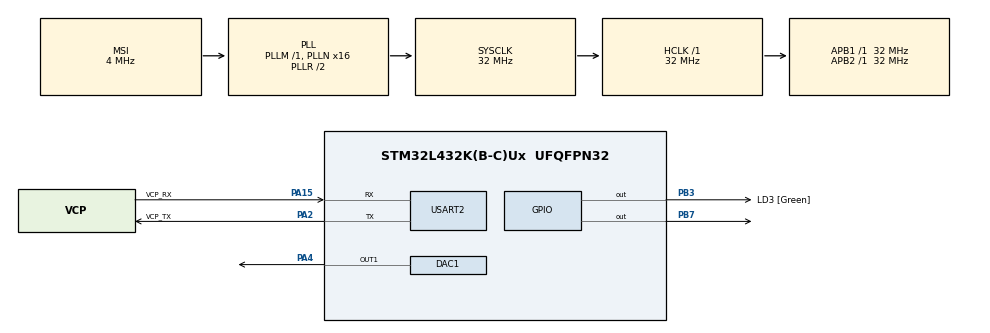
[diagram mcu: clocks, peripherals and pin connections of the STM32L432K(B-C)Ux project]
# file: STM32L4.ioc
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DAC1.DAC_Trigger-DAC_OUT1=DAC_TRIGGER_T6_TRGO
Dma.DAC_CH1.0.Direction=DMA_MEMORY_TO_PERIPH
Dma.DAC_CH1.0.Instance=DMA1_Channel3
Dma.DAC_CH1.0.MemDataAlignment=DMA_MDATAALIGN_WORD
Dma.DAC_CH1.0.MemInc=DMA_MINC_ENABLE
Dma.DAC_CH1.0.Mode=DMA_CIRCULAR
Dma.DAC_CH1.0.PeriphDataAlignment=DMA_PDATAALIGN_WORD
Dma.DAC_CH1.0.PeriphInc=DMA_PINC_DISABLE
Dma.DAC_CH1.0.Priority=DMA_PRIORITY_LOW
Dma.Request0=DAC_CH1
Mcu.Family=STM32L4
Mcu.Name=STM32L432K(B-C)Ux
Mcu.Package=UFQFPN32
NVIC.DMA1_Channel3_IRQn=true\:0\:0\:false\:false\:true\:false\:true\:true
NVIC.PriorityGroup=NVIC_PRIORITYGROUP_4
NVIC.TIM6_DAC_IRQn=true\:0\:0\:false\:false\:true\:true\:true\:true
PA0.GPIO_Label=MCO [High speed clock in]
PA0.Mode=HSE-External-Clock-Source-for-LittleOrca
PA0.Signal=RCC_CK_IN
PA13\ (JTMS-SWDIO).GPIO_Label=SWDIO
PA13\ (JTMS-SWDIO).Mode=Serial_Wire
PA13\ (JTMS-SWDIO).Signal=SYS_JTMS-SWDIO
PA14\ (JTCK-SWCLK).GPIO_Label=SWCLK
PA14\ (JTCK-SWCLK).Mode=Serial_Wire
PA14\ (JTCK-SWCLK).Signal=SYS_JTCK-SWCLK
PA15\ (JTDI).GPIO_Label=VCP_RX
PA15\ (JTDI).Mode=Asynchronous
PA15\ (JTDI).Signal=USART2_RX
PA2.GPIO_Label=VCP_TX
PA2.Mode=Asynchronous
PA2.Signal=USART2_TX
PA4.Signal=COMP_DAC11_group
PB3\ (JTDO-TRACESWO).GPIO_Label=LD3 [Green]
PB3\ (JTDO-TRACESWO).Signal=GPIO_Output
PB7.Signal=GPIO_Output
PC14-OSC32_IN\ (PC14).Mode=LSE-External-Oscillator
PC14-OSC32_IN\ (PC14).Signal=RCC_OSC32_IN
PC15-OSC32_OUT\ (PC15).Mode=LSE-External-Oscillator
PC15-OSC32_OUT\ (PC15).Signal=RCC_OSC32_OUT
ProjectManager.HeapSize=0x200
ProjectManager.StackSize=0x400
ProjectManager.TargetToolchain=STM32CubeIDE
RCC.AHBFreq_Value=32000000
RCC.APB1Freq_Value=32000000
RCC.APB1TimFreq_Value=32000000
RCC.APB2Freq_Value=32000000
RCC.APB2TimFreq_Value=32000000
RCC.CortexFreq_Value=32000000
RCC.HCLKFreq_Value=32000000
RCC.HSE_VALUE=8000000
RCC.HSI16_VALUE=16000000
RCC.HSI48_VALUE=48000000
RCC.HSI_VALUE=16000000
RCC.MSI_VALUE=4000000
RCC.PLLMUL=RCC_PLLMUL_4
RCC.PLLN=16
RCC.SYSCLKFreq_VALUE=32000000
RCC.SYSCLKSource=RCC_SYSCLKSOURCE_PLLCLK
RCC.VCOOutputFreq_Value=64000000
SH.COMP_DAC11_group.0=DAC1_OUT1,DAC_OUT1
TIM6.Period=1
TIM6.Prescaler=417
TIM6.TIM_MasterOutputTrigger=TIM_TRGO_UPDATE
USART2.VirtualMode-Asynchronous=VM_ASYNC
VP_TIM6_VS_ClockSourceINT.Mode=Enable_Timer
board=NUCLEO-L432KC

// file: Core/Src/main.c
/* USER CODE BEGIN Header */
/**
 ******************************************************************************
 * @file           : main.c
 * @brief          : Main program body
 ******************************************************************************
 * @attention
 *
 * Copyright (c) 2024 STMicroelectronics.
 * All rights reserved.
 *
 * This software is licensed under terms that can be found in the LICENSE file
 * in the root directory of this software component.
 * If no LICENSE file comes with this software, it is provided AS-IS.
 *
 ******************************************************************************
 */
/* USER CODE END Header */
#include "main.h"
#include "dac.h"
#include "dma.h"
#include "tim.h"
#include "usart.h"
#include "gpio.h"

/* USER CODE BEGIN Includes */
#include <math.h>
#include <stdlib.h>
#include <stdint.h>

/* USER CODE END Includes */

/* USER CODE BEGIN PD */
#define BIT_STREAM_LEN 64
#define STEPS 32
#define PERIOD 1200
#define SAMPLE_FREQ (STEPS*PERIOD)
/* USER CODE END PD */

/* USER CODE BEGIN PV */

uint8_t data[1042] = { 0, 1, 1, 1, 1, 1, 1, 0, 0, 1, 1, 1, 1, 1, 1, 0, 0, 1, 1,
		1, 1, 1, 1, 0, 0, 1, 1, 1, 1, 1, 1, 0, 0, 1, 1, 1, 1, 1, 1, 0, 0, 1, 1,
		1, 1, 1, 1, 0, 0, 1, 1, 1, 1, 1, 1, 0, 0, 1, 1, 1, 1, 1, 1, 0, 0, 1, 1,
		1, 1, 1, 1, 0, 0, 1, 1, 1, 1, 1, 1, 0, 0, 1, 1, 1, 1, 1, 1, 0, 0, 1, 1,
		1, 1, 1, 1, 0, 0, 1, 1, 1, 1, 1, 1, 0, 0, 1, 1, 1, 1, 1, 1, 0, 0, 1, 1,
		1, 1, 1, 1, 0, 0, 1, 1, 1, 1, 1, 1, 0, 0, 1, 1, 1, 1, 1, 1, 0, 0, 1, 1,
		1, 1, 1, 1, 0, 0, 1, 1, 1, 1, 1, 1, 0, 0, 1, 1, 1, 1, 1, 1, 0, 0, 1, 1,
		1, 1, 1, 1, 0, 0, 1, 1, 1, 1, 1, 1, 0, 0, 1, 1, 1, 1, 1, 1, 0, 0, 1, 1,
		1, 1, 1, 1, 0, 0, 1, 1, 1, 1, 1, 1, 0, 0, 1, 1, 1, 1, 1, 1, 0, 0, 1, 1,
		1, 1, 1, 1, 0, 0, 1, 1, 1, 1, 1, 1, 0, 0, 1, 1, 1, 1, 1, 1, 0, 0, 1, 1,
		1, 1, 1, 1, 0, 0, 1, 1, 1, 1, 1, 1, 0, 0, 1, 1, 1, 1, 1, 1, 0, 0, 1, 1,
		1, 1, 1, 1, 0, 0, 1, 1, 1, 1, 1, 1, 0, 0, 1, 1, 1, 1, 1, 1, 0, 0, 1, 1,
		1, 1, 1, 1, 0, 0, 1, 1, 1, 1, 1, 1, 0, 0, 1, 1, 1, 1, 1, 1, 0, 0, 1, 1,
		1, 1, 1, 1, 0, 0, 1, 1, 1, 1, 1, 1, 0, 0, 1, 1, 1, 1, 1, 1, 0, 0, 1, 1,
		1, 1, 1, 1, 0, 0, 1, 1, 1, 1, 1, 1, 0, 0, 1, 1, 1, 1, 1, 1, 0, 0, 1, 1,
		1, 1, 1, 1, 0, 0, 1, 1, 1, 1, 1, 1, 0, 0, 1, 1, 1, 1, 1, 1, 0, 0, 1, 1,
		1, 1, 1, 1, 0, 0, 1, 1, 1, 1, 1, 1, 0, 0, 1, 1, 1, 1, 1, 1, 0, 0, 1, 1,
		1, 1, 1, 1, 0, 0, 1, 1, 1, 1, 1, 1, 0, 0, 1, 1, 1, 1, 1, 1, 0, 0, 1, 1,
		1, 1, 1, 1, 0, 0, 1, 0, 0, 0, 0, 0, 1, 0, 0, 0, 0, 0, 1, 0, 1, 0, 0, 1,
		0, 1, 1, 0, 1, 0, 1, 0, 1, 1, 0, 0, 1, 0, 0, 0, 1, 0, 0, 0, 1, 0, 1, 0,
		1, 1, 0, 0, 1, 0, 0, 0, 0, 0, 1, 1, 0, 0, 0, 1, 1, 1, 0, 0, 1, 0, 1, 1,
		1, 1, 0, 0, 1, 0, 1, 1, 0, 0, 0, 0, 1, 0, 1, 0, 0, 0, 0, 0, 1, 0, 0, 0,
		1, 1, 0, 0, 1, 0, 0, 0, 1, 1, 0, 0, 1, 1, 1, 0, 1, 0, 1, 1, 0, 1, 1, 0,
		0, 0, 0, 0, 0, 0, 0, 0, 0, 1, 1, 1, 1, 1, 0, 0, 1, 1, 1, 1, 0, 0, 0, 0,
		0, 0, 1, 1, 0, 0, 0, 0, 0, 0, 1, 1, 0, 0, 0, 0, 0, 0, 1, 1, 0, 0, 0, 0,
		0, 0, 1, 1, 0, 0, 0, 1, 1, 1, 0, 1, 0, 0, 0, 0, 0, 0, 1, 1, 0, 0, 0, 0,
		0, 0, 1, 1, 0, 0, 0, 1, 1, 1, 0, 0, 1, 0, 1, 1, 1, 1, 0, 1, 0, 0, 0, 0,
		0, 0, 1, 1, 0, 0, 0, 0, 0, 0, 1, 1, 0, 0, 0, 0, 0, 0, 1, 1, 0, 0, 0, 0,
		0, 0, 1, 1, 0, 0, 0, 0, 0, 0, 1, 1, 0, 0, 0, 1, 1, 1, 0, 1, 0, 0, 0, 0,
		0, 0, 1, 1, 0, 0, 0, 0, 0, 0, 1, 1, 0, 0, 1, 0, 1, 0, 0, 0, 1, 0, 0, 1,
		1, 1, 1, 1, 0, 0, 0, 1, 1, 1, 1, 0, 1, 0, 0, 1, 0, 0, 0, 0, 0, 1, 0, 1,
		0, 1, 1, 1, 1, 0, 0, 0, 0, 0, 0, 1, 1, 0, 0, 0, 0, 0, 0, 1, 1, 0, 0, 0,
		0, 0, 0, 1, 1, 0, 0, 0, 0, 0, 0, 1, 1, 0, 0, 0, 0, 0, 0, 1, 1, 0, 0, 0,
		0, 0, 0, 1, 1, 0, 0, 1, 0, 0, 0, 0, 0, 1, 0, 0, 1, 0, 0, 1, 1, 1, 0, 0,
		0, 1, 0, 0, 1, 1, 0, 1, 0, 1, 0, 1, 1, 1, 0, 1, 0, 0, 1, 0, 1, 1, 0, 0,
		1, 1, 1, 0, 1, 1, 0, 1, 1, 1, 1, 0, 1, 1, 0, 0, 0, 0, 0, 0, 1, 0, 0, 1,
		0, 0, 0, 0, 0, 1, 0, 0, 0, 0, 0, 1, 0, 1, 0, 0, 1, 0, 0, 1, 0, 1, 0, 1,
		1, 0, 0, 1, 0, 1, 0, 0, 0, 0, 0, 0, 1, 0, 0, 0, 0, 1, 0, 1, 0, 1, 0, 0,
		1, 0, 0, 1, 1, 1, 0, 1, 0, 0, 0, 0, 1, 1, 0, 1, 1, 0, 0, 0, 1, 1, 0, 1,
		1, 0, 1, 0, 1, 1, 0, 1, 0, 1, 0, 0, 1, 1, 0, 0, 1, 0, 0, 1, 1, 1, 0, 0,
		0, 1, 1, 0, 0, 1, 1, 0, 0, 1, 1, 1, 0, 1, 0, 0, 1, 1, 1, 1, 1, 1, 0, 0,
		1, 1, 1, 1, 1, 1, 0, 0, 1, 1, 1, 1, 1, 1, 0, 0, 1, 1, 1, 1, 1, 1, 0, 0,
		1, 1, 1, 1, 1, 1, 0, 0, 1, 1, 1, 1, 1, 1, 0, 0, 1, 1, 1, 1, 1, 1, 0, 0,
		1, 1, 1, 1, 1, 1, 0, 0, 1, 1, 1, 1, 1, 1, 0 };

int bufIndex = 0;
uint32_t buf[64];
uint32_t errorValue;
uint32_t sineTable[2048];
uint32_t buffer[4096];
int isrFlag = 0;
int mainFlag = 0;
/* USER CODE END PV */

void SystemClock_Config(void);
/* USER CODE BEGIN PFP */
void audioCPFSK(uint32_t *bitstream, int bitstreamLength, int samplingFreq,
		uint32_t *result);
/* USER CODE END PFP */

int main(void) {

	/* MCU Configuration--------------------------------------------------------*/

	/* Reset of all peripherals, Initializes the Flash interface and the Systick. */
	HAL_Init();

	/* Configure the system clock */
	SystemClock_Config();

	/* Initialize all configured peripherals */
	MX_GPIO_Init();
	MX_DMA_Init();
	MX_USART2_UART_Init();
	MX_DAC1_Init();
	MX_TIM6_Init();
	/* USER CODE BEGIN 2 */

	for (int i = 0; i < 64; i++) {
		buf[i] = data[bufIndex];
		bufIndex++;

	}

	audioCPFSK(buf, BIT_STREAM_LEN, SAMPLE_FREQ, sineTable);

	for (int i = 0; i < 2048; i++) {
		buffer[i] = sineTable[i];
	}

	HAL_TIM_Base_Start(&htim6);

	if (HAL_DAC_Start_DMA(&hdac1, DAC_CHANNEL_1, buffer, BIT_STREAM_LEN * STEPS,
			DAC_ALIGN_12B_R) == HAL_OK) {
	} else {
		errorValue = HAL_DAC_GetError(&hdac1);
	}

	/* USER CODE END 2 */

	/* Infinite loop */
	while (1) {
		while(mainFlag == 0){
			asm("nop");
		}
		/* USER CODE BEGIN 3 */
		switch (isrFlag) {
		case 0:

			for (int i = 0; i < 64; i++) {
				buf[i] = data[bufIndex];
				if (bufIndex >= 1041) {
					bufIndex = 0;
				} else {
					bufIndex++;
				}
			}

			audioCPFSK(buf, BIT_STREAM_LEN, SAMPLE_FREQ, sineTable);

			for (int i = 0; i < 2048; i++) {
				buffer[i] = sineTable[i];
			}

			break;
		case 1:

			for (int i = 0; i < 64; i++) {
				buf[i] = data[bufIndex];
				if (bufIndex >= 1041) {
					bufIndex = 0;
				} else {
					bufIndex++;
				}

			}

			audioCPFSK(buf, BIT_STREAM_LEN, SAMPLE_FREQ, sineTable);

			for (int i = 2048; i < 4096; i++) {
				buffer[i] = sineTable[i];
			}

			break;

		}

	}
	/* USER CODE END 3 */
}

void SystemClock_Config(void) {
	RCC_OscInitTypeDef RCC_OscInitStruct = { 0 };
	RCC_ClkInitTypeDef RCC_ClkInitStruct = { 0 };

	/** Configure the main internal regulator output voltage
	 */
	if (HAL_PWREx_ControlVoltageScaling(PWR_REGULATOR_VOLTAGE_SCALE1)
			!= HAL_OK) {
		Error_Handler();
	}

	/** Configure LSE Drive Capability
	 */
	HAL_PWR_EnableBkUpAccess();
	__HAL_RCC_LSEDRIVE_CONFIG(RCC_LSEDRIVE_LOW);

	/** Initializes the RCC Oscillators according to the specified parameters
	 * in the RCC_OscInitTypeDef structure.
	 */
	RCC_OscInitStruct.OscillatorType = RCC_OSCILLATORTYPE_LSE
			| RCC_OSCILLATORTYPE_MSI;
	RCC_OscInitStruct.LSEState = RCC_LSE_ON;
	RCC_OscInitStruct.MSIState = RCC_MSI_ON;
	RCC_OscInitStruct.MSICalibrationValue = 0;
	RCC_OscInitStruct.MSIClockRange = RCC_MSIRANGE_6;
	RCC_OscInitStruct.PLL.PLLState = RCC_PLL_ON;
	RCC_OscInitStruct.PLL.PLLSource = RCC_PLLSOURCE_MSI;
	RCC_OscInitStruct.PLL.PLLM = 1;
	RCC_OscInitStruct.PLL.PLLN = 16;
	RCC_OscInitStruct.PLL.PLLP = RCC_PLLP_DIV7;
	RCC_OscInitStruct.PLL.PLLQ = RCC_PLLQ_DIV2;
	RCC_OscInitStruct.PLL.PLLR = RCC_PLLR_DIV2;
	if (HAL_RCC_OscConfig(&RCC_OscInitStruct) != HAL_OK) {
		Error_Handler();
	}

	/** Initializes the CPU, AHB and APB buses clocks
	 */
	RCC_ClkInitStruct.ClockType = RCC_CLOCKTYPE_HCLK | RCC_CLOCKTYPE_SYSCLK
			| RCC_CLOCKTYPE_PCLK1 | RCC_CLOCKTYPE_PCLK2;
	RCC_ClkInitStruct.SYSCLKSource = RCC_SYSCLKSOURCE_PLLCLK;
	RCC_ClkInitStruct.AHBCLKDivider = RCC_SYSCLK_DIV1;
	RCC_ClkInitStruct.APB1CLKDivider = RCC_HCLK_DIV1;
	RCC_ClkInitStruct.APB2CLKDivider = RCC_HCLK_DIV1;

	if (HAL_RCC_ClockConfig(&RCC_ClkInitStruct, FLASH_LATENCY_1) != HAL_OK) {
		Error_Handler();
	}

	/** Enable MSI Auto calibration
	 */
	HAL_RCCEx_EnableMSIPLLMode();
}

/* USER CODE BEGIN 4 */

void HAL_DAC_ConvHalfCpltCallbackCh1(DAC_HandleTypeDef *hdac) {

	isrFlag = 0;

}

void HAL_DAC_ConvCpltCallbackCh1(DAC_HandleTypeDef *hdac) {
	isrFlag = 1;
	HAL_DAC_Start_DMA(&hdac1, DAC_CHANNEL_1, buffer, BIT_STREAM_LEN * STEPS, DAC_ALIGN_12B_R);
}

void audioCPFSK(uint32_t *bitstream, int bitstreamLength, int samplingFreq,
		uint32_t *result) {
	int fCenter = 1700;
	int fDelta = 500;
	int bitrate = 1200;
	int steps = samplingFreq / bitrate;
	int totalSamples = bitstreamLength * steps;
	//uint32_t dummy[16384] = {0};

	//size_t size = (totalSamples * sizeof(uint32_t));

	//uint32_t* result = (uint32_t*)malloc(size);
	// Allocate memory for the output array
	//float* y = (float*)malloc(totalSamples * sizeof(float));

	/* if(result == NULL){
	 return NULL;
	 }*/

	//Convert bitstream to NRZ format
	for (int i = 0; i < bitstreamLength; i++) {
		bitstream[i] = bitstream[i] * 2 - 1;
	}

	result[0] = 0;
	float phaseAdj = 0.0;

	for (int i = 1; i < totalSamples; i++) {
		// Interpolate the bitstream to steps points per bit
		int index = (i + steps - 1) / steps;
		int indexPrev = (i - 1 + steps - 1) / steps;

		// Integration of the bitstream with trapezoidal rule
		phaseAdj += (bitstream[indexPrev] + bitstream[index]) / 2.0;

		// FM Modulation
		result[i] = (uint32_t) (625* (1+ (cos(2 * M_PI * i* (fCenter/ (double) samplingFreq)
												- 2 * M_PI * phaseAdj* (fDelta/ (double) samplingFreq)))));

		//result[i] = ((result[i]+1) * 2047);

	}

}
/* USER CODE END 4 */

void Error_Handler(void) {
	__disable_irq();
	while (1) {
	}
}
